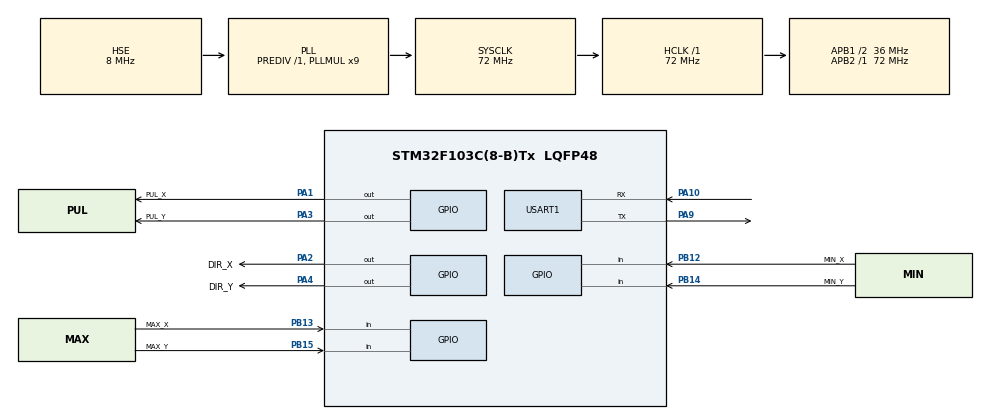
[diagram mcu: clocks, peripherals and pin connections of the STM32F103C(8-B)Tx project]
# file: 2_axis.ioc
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Mcu.Family=STM32F1
Mcu.Name=STM32F103C(8-B)Tx
Mcu.Package=LQFP48
NVIC.PriorityGroup=NVIC_PRIORITYGROUP_4
NVIC.TIM2_IRQn=true\:1\:0\:true\:false\:true\:true\:true\:true
NVIC.USART1_IRQn=true\:0\:0\:false\:false\:true\:true\:true\:true
PA1.GPIO_Label=PUL_X
PA1.Signal=GPIO_Output
PA10.Mode=Asynchronous
PA10.Signal=USART1_RX
PA13.Mode=Serial_Wire
PA13.Signal=SYS_JTMS-SWDIO
PA14.Mode=Serial_Wire
PA14.Signal=SYS_JTCK-SWCLK
PA2.GPIO_Label=DIR_X
PA2.Signal=GPIO_Output
PA3.GPIO_Label=PUL_Y
PA3.Signal=GPIO_Output
PA4.GPIO_Label=DIR_Y
PA4.Signal=GPIO_Output
PA9.Mode=Asynchronous
PA9.Signal=USART1_TX
PB12.GPIO_Label=MIN_X
PB12.GPIO_PuPd=GPIO_PULLUP
PB12.Signal=GPIO_Input
PB13.GPIO_Label=MAX_X
PB13.GPIO_PuPd=GPIO_PULLUP
PB13.Signal=GPIO_Input
PB14.GPIO_Label=MIN_Y
PB14.GPIO_PuPd=GPIO_PULLUP
PB14.Signal=GPIO_Input
PB15.GPIO_Label=MAX_Y
PB15.GPIO_PuPd=GPIO_PULLUP
PB15.Signal=GPIO_Input
PD0-OSC_IN.Mode=HSE-External-Oscillator
PD0-OSC_IN.Signal=RCC_OSC_IN
PD1-OSC_OUT.Mode=HSE-External-Oscillator
PD1-OSC_OUT.Signal=RCC_OSC_OUT
ProjectManager.HeapSize=0x200
ProjectManager.StackSize=0x400
ProjectManager.TargetToolchain=STM32CubeIDE
RCC.AHBFreq_Value=72000000
RCC.APB1CLKDivider=RCC_HCLK_DIV2
RCC.APB1Freq_Value=36000000
RCC.APB1TimFreq_Value=72000000
RCC.APB2Freq_Value=72000000
RCC.APB2TimFreq_Value=72000000
RCC.HCLKFreq_Value=72000000
RCC.PLLMUL=RCC_PLL_MUL9
RCC.PLLSourceVirtual=RCC_PLLSOURCE_HSE
RCC.SYSCLKFreq_VALUE=72000000
RCC.SYSCLKSource=RCC_SYSCLKSOURCE_PLLCLK
RCC.USBFreq_Value=72000000
TIM2.Period=999
TIM2.Prescaler=71
USART1.VirtualMode=VM_ASYNC
VP_TIM2_VS_ClockSourceINT.Mode=Internal
board=custom

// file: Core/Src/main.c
/* USER CODE BEGIN Header */
/**
  ******************************************************************************
  * @file           : main.c
  * @brief          : Main program body
  ******************************************************************************
  * @attention
  *
  * Copyright (c) 2026 STMicroelectronics.
  * All rights reserved.
  *
  * This software is licensed under terms that can be found in the LICENSE file
  * in the root directory of this software component.
  * If no LICENSE file comes with this software, it is provided AS-IS.
  *
  ******************************************************************************
  */
/* USER CODE END Header */
#include "main.h"

/* USER CODE BEGIN Includes */
#include <string.h>
#include <stdio.h>
#include <stdlib.h>
/* USER CODE END Includes */

/* USER CODE BEGIN PTD */
// Cấu trúc lưu 1 lệnh di chuyển gồm số vòng trục X và trục Y (âm hoặc dương)
typedef struct {
  int32_t rev_x;
  int32_t rev_y;
} MotorCmd_t;
/* USER CODE END PTD */

/* USER CODE BEGIN PD */
#define STEPS_PER_REV   1600                 // 1 vòng = 1600 bước (xung)
#define QUEUE_SIZE      16                   // Lưu tối đa 15 lệnh chờ trong hàng đợi động cơ
#define RAW_FIFO_SIZE   128                  // Bộ đệm vòng chứa byte thô từ ngắt UART
#define LINE_BUF_SIZE   32                   // Độ dài tối đa của 1 chuỗi lệnh (VD: "X-10Y20")
#define UART_TIMEOUT_MS 30                   // Sau 30ms không có ký tự mới -> Tự hiểu là hết câu lệnh
/* USER CODE END PD */

TIM_HandleTypeDef htim2;

UART_HandleTypeDef huart1;

/* USER CODE BEGIN PV */
uint8_t rx_data = 0;

// 1. Bộ đệm vòng chứa byte thô (Raw Byte Ring Buffer) giao tiếp giữa ISR UART và while(1)
volatile uint8_t raw_rx_fifo[RAW_FIFO_SIZE];
volatile uint8_t raw_head = 0;
volatile uint8_t raw_tail = 0;
volatile uint8_t is_receiving_cmd = 0;  // Đánh dấu đang gõ dở câu lệnh (để phân biệt số '0' trong "X0Y3" với lệnh dừng '0')
// volatile uint32_t last_rx_tick = 0;     // Thời điểm nhận byte cuối cùng (dùng cho Timeout tự chốt lệnh)

// Bộ đệm lắp ghép chuỗi chỉ dùng trong while(1)
char line_buf[LINE_BUF_SIZE];
uint8_t line_idx = 0;

// 2. Hàng đợi FIFO chứa các lệnh động cơ đã giải mã (Motor Command Queue)
MotorCmd_t cmd_queue[QUEUE_SIZE];
volatile uint8_t q_head = 0;            // Vị trí ghi lệnh mới vào
volatile uint8_t q_tail = 0;            // Vị trí lấy lệnh cũ ra chạy

// 3. Các cờ thông báo sự kiện
volatile uint8_t stop_flag = 0;         // Cờ dừng khẩn cấp khi nhận '0'
volatile uint8_t cmd_done_flag = 0;     // Cờ báo vừa chạy xong 1 lệnh từ Timer 2

// 4. Các biến điều khiển Stepper trong ngắt Timer 2
volatile uint32_t steps_left_X = 0;     // Số bước (xung) còn lại của trục X
volatile uint32_t steps_left_Y = 0;     // Số bước (xung) còn lại của trục Y
volatile uint8_t pulse_state_X = 0;     // 0: Sắp xuất mức SET, 1: Sắp xuất mức RESET
volatile uint8_t pulse_state_Y = 0;     // 0: Sắp xuất mức SET, 1: Sắp xuất mức RESET
volatile uint8_t is_motor_busy = 0;     // 0: Động cơ đang rảnh, 1: Động cơ đang bận chạy
/* USER CODE END PV */

void SystemClock_Config(void);
static void MX_GPIO_Init(void);
static void MX_TIM2_Init(void);
static void MX_USART1_UART_Init(void);
/* USER CODE BEGIN PFP */
void Emergency_Stop_ISR(void);
void Parse_And_Push_Command(char *cmd_str);
/* USER CODE END PFP */

/* USER CODE BEGIN 0 */
void UART_SendString(char *str)
{
  HAL_UART_Transmit(&huart1, (uint8_t *)str, strlen(str), 100);
}

// Hàm dừng khẩn cấp gọi nhanh trong ngắt
void Emergency_Stop_ISR(void)
{
  HAL_TIM_Base_Stop_IT(&htim2);
  steps_left_X = 0;
  steps_left_Y = 0;
  pulse_state_X = 0;
  pulse_state_Y = 0;
  is_motor_busy = 0;
  cmd_done_flag = 0;

  // Xóa toàn bộ hàng đợi lệnh và bộ đệm nhận
  q_head = 0;
  q_tail = 0;
  raw_head = 0;
  raw_tail = 0;
  is_receiving_cmd = 0;

  HAL_GPIO_WritePin(GPIOA, PUL_X_Pin | PUL_Y_Pin, GPIO_PIN_RESET);
  stop_flag = 1;
}

// Hàm phân tích chuỗi lệnh (Chạy hoàn toàn trong while(1), KHÔNG chạy trong ngắt)
void Parse_And_Push_Command(char *cmd_str)
{
  // Kiểm tra nếu chuỗi gửi xuống là "0"
  if (strcmp(cmd_str, "0") == 0)
  {
    __disable_irq();
    Emergency_Stop_ISR();
    __enable_irq();
    return;
  }

  // Phân tích cú pháp X<số>Y<số> (hỗ trợ cả chữ hoa lẫn chữ thường)
  char *ptr = cmd_str;
  if (*ptr == 'X' || *ptr == 'x')
  {
    ptr++; // Dịch qua chữ 'X'
    char *end_x;
    long val_x = strtol(ptr, &end_x, 10);

    // Kiểm tra ngay sau số X có phải là chữ 'Y' không
    if (end_x != ptr && (*end_x == 'Y' || *end_x == 'y'))
    {
      ptr = end_x + 1; // Dịch qua chữ 'Y'
      char *end_y;
      long val_y = strtol(ptr, &end_y, 10);

      // Nếu đọc số Y thành công và đã kết thúc chuỗi
      if (end_y != ptr && *end_y == '\0')
      {
        uint8_t next_head = (q_head + 1) % QUEUE_SIZE;
        if (next_head != q_tail) // Kiểm tra FIFO lệnh còn chỗ trống không
        {
          cmd_queue[q_head].rev_x = (int32_t)val_x;
          cmd_queue[q_head].rev_y = (int32_t)val_y;
          q_head = next_head;

          char msg[96];
          if (is_motor_busy)
          {
            sprintf(msg, "Da nhan lenh: X%ldY%ld (Da luu vao FIFO, cho lenh cu xong...)\r\n", val_x, val_y);
          }
          else
          {
            sprintf(msg, "Da nhan lenh: X%ldY%ld\r\n", val_x, val_y);
          }
          UART_SendString(msg);
        }
        else
        {
          UART_SendString("Canh bao: Hang doi FIFO da day!\r\n");
        }
        return;
      }
    }
  }

  // Nếu không khớp định dạng chuẩn thì báo lỗi
  UART_SendString("Loi cu phap! Vui long gui dung dang: X1Y1, X0Y3, X-1Y-1 hoac 0.\r\n");
}
/* USER CODE END 0 */

int main(void)
{

  /* MCU Configuration--------------------------------------------------------*/

  /* Reset of all peripherals, Initializes the Flash interface and the Systick. */
  HAL_Init();

  /* Configure the system clock */
  SystemClock_Config();

  /* Initialize all configured peripherals */
  MX_GPIO_Init();
  MX_TIM2_Init();
  MX_USART1_UART_Init();
  /* USER CODE BEGIN 2 */
  HAL_UART_Receive_IT(&huart1, &rx_data, 1);
  UART_SendString("He thong san sang!\r\n");
  UART_SendString("Gui lenh theo cu phap X<so_vong>Y<so_vong> (VD: X1Y1, X0Y3, X-1Y-1).\r\n");
  UART_SendString("Gui 0 de DUNG KHAN CAP.\r\n");
  /* USER CODE END 2 */

  /* Infinite loop */
  /* USER CODE BEGIN WHILE */
  while (1)
  {
    // =========================================================================
    // 1. XỬ LÝ DỪNG KHẨN CẤP (Khi nhận lệnh '0')
    // =========================================================================
    if (stop_flag)
    {
      stop_flag = 0;
      line_idx = 0; // Xóa luôn chuỗi đang lắp ghép dở (nếu có)
      UART_SendString("Da nhan: 0 -> DUNG KHAN CAP & XOA HANG DOI!\r\n");
    }

    // =========================================================================
    // 2. LẤY BYTE THÔ TỪ UART FIFO RA ĐỂ LẮP GHÉP & XỬ LÝ CHUỖI TRONG WHILE(1)
    // =========================================================================
    while (raw_tail != raw_head)
    {
      uint8_t ch = raw_rx_fifo[raw_tail];
      raw_tail = (raw_tail + 1) % RAW_FIFO_SIZE;

      // Nếu gặp ký tự kết thúc câu lệnh (\r, \n hoặc ';')
      if (ch == '\r' || ch == '\n' || ch == ';')
      {
        if (line_idx > 0)
        {
          line_buf[line_idx] = '\0';
          line_idx = 0;
          Parse_And_Push_Command(line_buf);
        }
      }
      else if (ch != ' ') // Bỏ qua khoảng trắng
      {
        if (line_idx < (LINE_BUF_SIZE - 1))
        {
          line_buf[line_idx++] = (char)ch;
        }
        else
        {
          // Chuỗi quá dài -> Xóa bộ đệm dòng và báo lỗi
          line_idx = 0;
          UART_SendString("Loi: Chuoi lenh qua dai!\r\n");
        }
      }
    }

    // Tự động chốt lệnh nếu người dùng gửi trên Hercules mà KHÔNG có Enter hay ';'

    // =========================================================================
    // 3. KIỂM TRA & BÁO CÁO KHI THỰC THI XONG LỆNH
    // =========================================================================
    if (cmd_done_flag)
    {
      cmd_done_flag = 0;

      // Nếu trong hàng đợi vẫn còn lệnh tiếp theo đang chờ
      if (q_head != q_tail)
      {
        UART_SendString("-> Da xong 1 lenh, chuan bi chay lenh tiep theo trong FIFO...\r\n");
      }
      else
      {
        // Khi hàng đợi đã trống hoàn toàn
        UART_SendString("==> HE THONG DA THUC THI XONG TAT CA CAC LENH! <==\r\n");
      }
    }

    // =========================================================================
    // 4. LẤY LỆNH TỪ HÀNG ĐỢI RA CHẠY (Khi động cơ ĐANG RẢNH và FIFO CÓ LỆNH)
    // =========================================================================
    if (!is_motor_busy && (q_head != q_tail))
    {
      is_motor_busy = 1; // Khóa trạng thái bận NGAY LẬP TỨC

      // Rút lệnh đầu tiên trong hàng đợi ra (Pop)
      MotorCmd_t current_cmd = cmd_queue[q_tail];
      q_tail = (q_tail + 1) % QUEUE_SIZE;

      char run_msg[80];
      sprintf(run_msg, "Dang thuc thi: X = %ld vong, Y = %ld vong...\r\n", current_cmd.rev_x, current_cmd.rev_y);
      UART_SendString(run_msg);

      // Nghỉ 50ms để ổn định cơ khí
      HAL_Delay(50);

      // Nếu trong 50ms vừa rồi KHÔNG có lệnh dừng khẩn cấp '0' thì mới nạp bước và chạy
      if (stop_flag == 0)
      {
        HAL_GPIO_WritePin(GPIOA, PUL_X_Pin | PUL_Y_Pin, GPIO_PIN_RESET);
        pulse_state_X = 0;
        pulse_state_Y = 0;

        // --- CẤU HÌNH CHIỀU QUAY & SỐ BƯỚC TRỤC X ---
        // Đi lên (>0) -> DIR_X = SET | Đi xuống (<0) -> DIR_X = RESET
        if (current_cmd.rev_x > 0)
        {
          HAL_GPIO_WritePin(GPIOA, DIR_X_Pin, GPIO_PIN_SET);
          steps_left_X = (uint32_t)(current_cmd.rev_x) * STEPS_PER_REV;
        }
        else if (current_cmd.rev_x < 0)
        {
          HAL_GPIO_WritePin(GPIOA, DIR_X_Pin, GPIO_PIN_RESET);
          steps_left_X = (uint32_t)(-current_cmd.rev_x) * STEPS_PER_REV;
        }
        else
        {
          steps_left_X = 0;
        }

        // --- CẤU HÌNH CHIỀU QUAY & SỐ BƯỚC TRỤC Y ---
        // Đi lên (>0) -> DIR_Y = RESET | Đi xuống (<0) -> DIR_Y = SET
        if (current_cmd.rev_y > 0)
        {
          HAL_GPIO_WritePin(GPIOA, DIR_Y_Pin, GPIO_PIN_RESET);
          steps_left_Y = (uint32_t)(current_cmd.rev_y) * STEPS_PER_REV;
        }
        else if (current_cmd.rev_y < 0)
        {
          HAL_GPIO_WritePin(GPIOA, DIR_Y_Pin, GPIO_PIN_SET);
          steps_left_Y = (uint32_t)(-current_cmd.rev_y) * STEPS_PER_REV;
        }
        else
        {
          steps_left_Y = 0;
        }

        // Khởi động Timer 2 nếu có ít nhất 1 trục cần quay
        if (steps_left_X > 0 || steps_left_Y > 0)
        {
          __HAL_TIM_SET_COUNTER(&htim2, 0);
          HAL_TIM_Base_Start_IT(&htim2);
        }
        else
        {
          // Nếu gửi X0Y0 (0 bước) thì báo hoàn thành luôn không cần bật Timer
          is_motor_busy = 0;
          cmd_done_flag = 1;
        }
      }
    }
    /* USER CODE END WHILE */

  }
}

void SystemClock_Config(void)
{
  RCC_OscInitTypeDef RCC_OscInitStruct = {0};
  RCC_ClkInitTypeDef RCC_ClkInitStruct = {0};

  /** Initializes the RCC Oscillators according to the specified parameters
  * in the RCC_OscInitTypeDef structure.
  */
  RCC_OscInitStruct.OscillatorType = RCC_OSCILLATORTYPE_HSE;
  RCC_OscInitStruct.HSEState = RCC_HSE_ON;
  RCC_OscInitStruct.HSEPredivValue = RCC_HSE_PREDIV_DIV1;
  RCC_OscInitStruct.HSIState = RCC_HSI_ON;
  RCC_OscInitStruct.PLL.PLLState = RCC_PLL_ON;
  RCC_OscInitStruct.PLL.PLLSource = RCC_PLLSOURCE_HSE;
  RCC_OscInitStruct.PLL.PLLMUL = RCC_PLL_MUL9;
  if (HAL_RCC_OscConfig(&RCC_OscInitStruct) != HAL_OK)
  {
    Error_Handler();
  }

  /** Initializes the CPU, AHB and APB buses clocks
  */
  RCC_ClkInitStruct.ClockType = RCC_CLOCKTYPE_HCLK|RCC_CLOCKTYPE_SYSCLK
                              |RCC_CLOCKTYPE_PCLK1|RCC_CLOCKTYPE_PCLK2;
  RCC_ClkInitStruct.SYSCLKSource = RCC_SYSCLKSOURCE_PLLCLK;
  RCC_ClkInitStruct.AHBCLKDivider = RCC_SYSCLK_DIV1;
  RCC_ClkInitStruct.APB1CLKDivider = RCC_HCLK_DIV2;
  RCC_ClkInitStruct.APB2CLKDivider = RCC_HCLK_DIV1;

  if (HAL_RCC_ClockConfig(&RCC_ClkInitStruct, FLASH_LATENCY_2) != HAL_OK)
  {
    Error_Handler();
  }
}

static void MX_TIM2_Init(void)
{

  TIM_ClockConfigTypeDef sClockSourceConfig = {0};
  TIM_MasterConfigTypeDef sMasterConfig = {0};

  htim2.Instance = TIM2;
  htim2.Init.Prescaler = 71;
  htim2.Init.CounterMode = TIM_COUNTERMODE_UP;
  htim2.Init.Period = 999;
  htim2.Init.ClockDivision = TIM_CLOCKDIVISION_DIV1;
  htim2.Init.AutoReloadPreload = TIM_AUTORELOAD_PRELOAD_DISABLE;
  if (HAL_TIM_Base_Init(&htim2) != HAL_OK)
  {
    Error_Handler();
  }
  sClockSourceConfig.ClockSource = TIM_CLOCKSOURCE_INTERNAL;
  if (HAL_TIM_ConfigClockSource(&htim2, &sClockSourceConfig) != HAL_OK)
  {
    Error_Handler();
  }
  sMasterConfig.MasterOutputTrigger = TIM_TRGO_RESET;
  sMasterConfig.MasterSlaveMode = TIM_MASTERSLAVEMODE_DISABLE;
  if (HAL_TIMEx_MasterConfigSynchronization(&htim2, &sMasterConfig) != HAL_OK)
  {
    Error_Handler();
  }

}

static void MX_USART1_UART_Init(void)
{

  huart1.Instance = USART1;
  huart1.Init.BaudRate = 115200;
  huart1.Init.WordLength = UART_WORDLENGTH_8B;
  huart1.Init.StopBits = UART_STOPBITS_1;
  huart1.Init.Parity = UART_PARITY_NONE;
  huart1.Init.Mode = UART_MODE_TX_RX;
  huart1.Init.HwFlowCtl = UART_HWCONTROL_NONE;
  huart1.Init.OverSampling = UART_OVERSAMPLING_16;
  if (HAL_UART_Init(&huart1) != HAL_OK)
  {
    Error_Handler();
  }

}

static void MX_GPIO_Init(void)
{
  GPIO_InitTypeDef GPIO_InitStruct = {0};

  /* GPIO Ports Clock Enable */
  __HAL_RCC_GPIOD_CLK_ENABLE();
  __HAL_RCC_GPIOA_CLK_ENABLE();
  __HAL_RCC_GPIOB_CLK_ENABLE();

  /*Configure GPIO pin Output Level */
  HAL_GPIO_WritePin(GPIOA, PUL_X_Pin|DIR_X_Pin|PUL_Y_Pin|DIR_Y_Pin, GPIO_PIN_RESET);

  /*Configure GPIO pins : PUL_X_Pin DIR_X_Pin PUL_Y_Pin DIR_Y_Pin */
  GPIO_InitStruct.Pin = PUL_X_Pin|DIR_X_Pin|PUL_Y_Pin|DIR_Y_Pin;
  GPIO_InitStruct.Mode = GPIO_MODE_OUTPUT_PP;
  GPIO_InitStruct.Pull = GPIO_NOPULL;
  GPIO_InitStruct.Speed = GPIO_SPEED_FREQ_LOW;
  HAL_GPIO_Init(GPIOA, &GPIO_InitStruct);

  /*Configure GPIO pins : MIN_X_Pin MAX_X_Pin MIN_Y_Pin MAX_Y_Pin */
  GPIO_InitStruct.Pin = MIN_X_Pin|MAX_X_Pin|MIN_Y_Pin|MAX_Y_Pin;
  GPIO_InitStruct.Mode = GPIO_MODE_INPUT;
  GPIO_InitStruct.Pull = GPIO_PULLUP;
  HAL_GPIO_Init(GPIOB, &GPIO_InitStruct);

}

/* USER CODE BEGIN 4 */

// 1. Ngắt nhận UART: CỰC KỲ GỌN NHẸ - Chỉ đẩy byte thô vào Ring Buffer hoặc bắt lệnh dừng khẩn cấp '0'
void HAL_UART_RxCpltCallback(UART_HandleTypeDef *huart)
{
  if (huart->Instance == USART1)
  {
    // Nếu không phải đang gõ dở lệnh "X..." mà nhận được ký tự '0' -> Dừng khẩn cấp NGAY LẬP TỨC!
    if (!is_receiving_cmd && rx_data == '0')
    {
      Emergency_Stop_ISR();
    }
    else
    {
      // Cập nhật trạng thái đang nhận khung lệnh
      if (rx_data == '\r' || rx_data == '\n' || rx_data == ';')
      {
        is_receiving_cmd = 0; // Kết thúc 1 câu lệnh
      }
      else if (rx_data != ' ')
      {
        is_receiving_cmd = 1; // Đang ở giữa câu lệnh (ví dụ đang gõ "X" nên nếu gặp số '0' tiếp theo trong "X0Y3" sẽ không bị dừng)
      }

      // Đẩy byte thô vào bộ đệm vòng cho while(1) tự xử lý
      uint8_t next_raw_head = (raw_head + 1) % RAW_FIFO_SIZE;
      if (next_raw_head != raw_tail)
      {
        raw_rx_fifo[raw_head] = rx_data;
        raw_head = next_raw_head;
      }
    }

    // Tiếp tục lắng nghe byte tiếp theo
    HAL_UART_Receive_IT(&huart1, &rx_data, 1);
  }
}

// 2. Ngắt Timer 2: Tạo xung bằng SET/RESET tường minh theo từng bước
void HAL_TIM_PeriodElapsedCallback(TIM_HandleTypeDef *htim)
{
  if (htim->Instance == TIM2)
  {
    // --- XỬ LÝ TRỤC X ---
    if (steps_left_X > 0)
    {
      if (pulse_state_X == 0)
      {
        HAL_GPIO_WritePin(GPIOA, PUL_X_Pin, GPIO_PIN_SET);   // Nửa chu kỳ đầu: Xuất mức 1
        pulse_state_X = 1;
      }
      else
      {
        HAL_GPIO_WritePin(GPIOA, PUL_X_Pin, GPIO_PIN_RESET); // Nửa chu kỳ sau: Xuất mức 0
        pulse_state_X = 0;
        steps_left_X--;                                      // Đã hoàn thành trọn vẹn 1 xung (1 bước)
      }
    }

    // --- XỬ LÝ TRỤC Y ---
    if (steps_left_Y > 0)
    {
      if (pulse_state_Y == 0)
      {
        HAL_GPIO_WritePin(GPIOA, PUL_Y_Pin, GPIO_PIN_SET);   // Nửa chu kỳ đầu: Xuất mức 1
        pulse_state_Y = 1;
      }
      else
      {
        HAL_GPIO_WritePin(GPIOA, PUL_Y_Pin, GPIO_PIN_RESET); // Nửa chu kỳ sau: Xuất mức 0
        pulse_state_Y = 0;
        steps_left_Y--;                                      // Đã hoàn thành trọn vẹn 1 xung (1 bước)
      }
    }

    // Khi cả 2 trục đã chạy hết số bước của lệnh hiện tại
    if (steps_left_X == 0 && steps_left_Y == 0)
    {
      pulse_state_X = 0;
      pulse_state_Y = 0;
      HAL_TIM_Base_Stop_IT(&htim2);
      is_motor_busy = 0; // Báo rảnh để while(1) tự rút lệnh tiếp theo trong FIFO ra chạy
      cmd_done_flag = 1; // Bật cờ báo cho while(1) in thông báo đã chạy xong
    }
  }
}

/* USER CODE END 4 */

void Error_Handler(void)
{
  __disable_irq();
  while (1)
  {
  }
}
